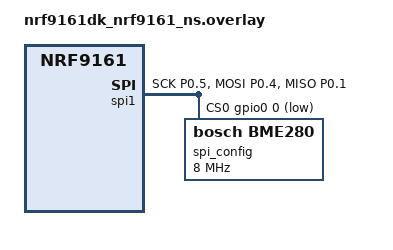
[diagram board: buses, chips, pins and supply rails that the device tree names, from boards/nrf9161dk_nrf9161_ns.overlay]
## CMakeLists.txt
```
#
# Copyright (c) 2024 Nordic Semiconductor
#
# SPDX-License-Identifier: LicenseRef-Nordic-5-Clause
#

cmake_minimum_required(VERSION 3.20.0)
find_package(Zephyr REQUIRED HINTS $ENV{ZEPHYR_BASE})
project(nrf_connect_sdk_intermediate)

target_sources(app PRIVATE 
	src/main.c
	src/drivers/APS6404L.c)
```

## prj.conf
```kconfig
#
# Copyright (c) 2024 Nordic Semiconductor
#
# SPDX-License-Identifier: LicenseRef-Nordic-5-Clause
#

CONFIG_LOG=y

CONFIG_CBPRINTF_FP_SUPPORT=y
CONFIG_RESET_ON_FATAL_ERROR=n

# STEP 1.1 - Enable Kconfigs for SPI and GPIO
CONFIG_GPIO=y
#CONFIG_NRFX_GPIOTE=y

CONFIG_NRFX_SPIM1=y


CONFIG_TFM_SECURE_UART=n

CONFIG_TFM_LOG_LEVEL_SILENCE=y

CONFIG_SPI_NRFX_RAM_BUFFER_SIZE=256
```

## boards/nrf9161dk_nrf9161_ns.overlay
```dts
/* STEP 2.1 - Add the SPI peripheral to spi1 */
&i2c0 {	status = "disabled";};
&spi0 {	status = "disabled";};
&i2c1 {	status = "disabled";};
&uart1 { status = "disabled";};
	
&spi1 {
    compatible = "nordic,nrf-spim";
	status = "okay";
	pinctrl-0 = <&spi1_default>;
	pinctrl-1 = <&spi1_sleep>;
	pinctrl-names = "default", "sleep";
	cs-gpios = <&gpio0 0 GPIO_ACTIVE_LOW>;
	spi_config: spi_config@0 {
		compatible = "bosch,bme280";
		reg = <0>;
		spi-max-frequency = <8000000>; 
	};
};

/* STEP 2.2 - Change the pin configuration */
&pinctrl {
	spi1_default: spi1_default {
		group1 {
				psels = <NRF_PSEL(SPIM_SCK, 0, 5)>,
						<NRF_PSEL(SPIM_MOSI, 0, 4)>,
						<NRF_PSEL(SPIM_MISO, 0, 1)>;
		};
	};

	spi1_sleep: spi1_sleep {
		group1 {
				psels = <NRF_PSEL(SPIM_SCK, 0, 5)>,
						<NRF_PSEL(SPIM_MOSI, 0, 4)>,
						<NRF_PSEL(SPIM_MISO, 0, 1)>;
				low-power-enable;
		};
	};
};
```

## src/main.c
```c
/*
 * Copyright (c) 2024 Nordic Semiconductor ASA
 *
 * SPDX-License-Identifier: LicenseRef-Nordic-5-Clause
 */

#include <zephyr/kernel.h>
#include <zephyr/logging/log.h>

/* STEP 1.2 - Include the header files for SPI, GPIO and devicetree */
#include <zephyr/device.h>
#include <zephyr/devicetree.h>
#include <zephyr/drivers/gpio.h>
//#include <zephyr/drivers/spi.h>
#include <nrfx_spim.h>
#include "../include/drivers/APS6404L.h"

#define AUTO_TRIG_CS  //exchanging 6bytes cs lo to cs hi auto 14,9us   manual 21us 

LOG_MODULE_REGISTER(PGM, LOG_LEVEL_INF);


#define SPIM_INST_IDX 1

/** @brief Symbol specifying pin number for MOSI. */
#define MOSI_PIN 4

/** @brief Symbol specifying pin number for MISO. */
#define MISO_PIN 1

/** @brief Symbol specifying pin number for SCK. */
#define SCK_PIN 5

#define MEM_CS_PIN 0

/** @brief Symbol specifying message to be sent via SPIM data transfer. */
#define MSG_TO_SEND "Nordic Semiconductor"


/** @brief Transmit buffer initialized with the specified message ( @ref MSG_TO_SEND ). */
uint8_t m_tx_buffer[64];

/** @brief Receive buffer defined with the size to store specified message ( @ref MSG_TO_SEND ). */
uint8_t m_rx_buffer[64];


const struct gpio_dt_spec ledspec = GPIO_DT_SPEC_GET(DT_NODELABEL(led0), gpios);



#ifdef AUTO_TRIG_CS


#else
static const struct gpio_dt_spec MEM_CS = {
    .port = DEVICE_DT_GET(DT_NODELABEL(gpio0)),
    .pin  = MEM_CS_PIN,
    .dt_flags = GPIO_ACTIVE_LOW,
};

#endif



nrfx_spim_t spim_inst = NRFX_SPIM_INSTANCE(SPIM_INST_IDX);



int main(void)
{
	int err;
	  nrfx_err_t status;
    (void)status;








   // NRFX_EXAMPLE_LOG_INIT();

    LOG_INF("Starting nrfx_spim basic blocking example.");
 //   NRFX_EXAMPLE_LOG_PROCESS();



#ifdef AUTO_TRIG_CS
nrfx_spim_config_t spim_config = NRFX_SPIM_DEFAULT_CONFIG(SCK_PIN,
                                                              MOSI_PIN,
                                                              MISO_PIN,
                                                              MEM_CS_PIN);

#else

gpio_pin_configure_dt(&MEM_CS, GPIO_OUTPUT_HIGH); 

nrfx_spim_config_t spim_config = NRFX_SPIM_DEFAULT_CONFIG(SCK_PIN,
                                                              MOSI_PIN,
                                                              MISO_PIN,
                                                              NRF_SPIM_PIN_NOT_CONNECTED);
#endif




    

    
    spim_config.frequency=8000000;

    status = nrfx_spim_init(&spim_inst, &spim_config, NULL, NULL);
    NRFX_ASSERT(status == NRFX_SUCCESS);


    m_tx_buffer[0]= 0x9f;
    m_tx_buffer[1]= 0;
    m_tx_buffer[2]= 0;
    m_tx_buffer[3]= 0;
     m_tx_buffer[4]= 0;
      m_tx_buffer[5]= 0;



   // nrfx_spim_xfer_desc_t spim_xfer_desc = NRFX_SPIM_XFER_TRX(m_tx_buffer, 6, m_rx_buffer, 6);
                                                              

    //nrfx_spim_xfer_desc_t spim_xfer_desc = NRFX_SPIM_SINGLE_XFER(m_tx_buffer, 6, m_rx_buffer, 6);

    //status = nrfx_spim_xfer(&spim_inst, &spim_xfer_desc, 0);



    uint8_t wr_buff[32];
    uint8_t rd_buff[32];
    uint8_t cntradd=0;
while (1) {
uint8_t cntr=0;

while (cntr<32) {
    wr_buff[cntr]=cntr+cntradd;
   // wr_buff[cntr]=cntr;
    cntr++;
}
cntradd+=0x30;
FLASH_MEMORY_WRITE_BYTE_ARRAY(0, wr_buff, 32);

k_msleep(2);


 FLASH_MEMORY_READ_DATA(0, rd_buff, 32) ;
 uint8_t dcnt=0;
 LOG_INF("%02hhx %02hhx %02hhx %02hhx", rd_buff[dcnt++], rd_buff[dcnt++], rd_buff[dcnt++], rd_buff[dcnt++]);
 LOG_INF("%02hhx %02hhx %02hhx %02hhx", rd_buff[dcnt++], rd_buff[dcnt++], rd_buff[dcnt++], rd_buff[dcnt++]);
 LOG_INF("%02hhx %02hhx %02hhx %02hhx", rd_buff[dcnt++], rd_buff[dcnt++], rd_buff[dcnt++], rd_buff[dcnt++]);
 LOG_INF("%02hhx %02hhx %02hhx %02hhx", rd_buff[dcnt++], rd_buff[dcnt++], rd_buff[dcnt++], rd_buff[dcnt++]);
 LOG_INF("%02hhx %02hhx %02hhx %02hhx", rd_buff[dcnt++], rd_buff[dcnt++], rd_buff[dcnt++], rd_buff[dcnt++]);
 LOG_INF("%02hhx %02hhx %02hhx %02hhx", rd_buff[dcnt++], rd_buff[dcnt++], rd_buff[dcnt++], rd_buff[dcnt++]);
 LOG_INF("%02hhx %02hhx %02hhx %02hhx", rd_buff[dcnt++], rd_buff[dcnt++], rd_buff[dcnt++], rd_buff[dcnt++]);
 LOG_INF("%02hhx %02hhx %02hhx %02hhx", rd_buff[dcnt++], rd_buff[dcnt++], rd_buff[dcnt++], rd_buff[dcnt++]);
k_msleep(1000);

}





    while (1) {




#ifdef AUTO_TRIG_CS
      // status = nrfx_spim_xfer(&spim_inst, &spim_xfer_desc, 0);

        uint8_t flbuf[2]={0,0};
        FLASH_READ_ID(flbuf);
        LOG_INF("mybuff %02hhx %02hhx", flbuf[0],flbuf[1]);

	 //	LOG_INF("mybuff %02hhx %02hhx %02hhx %02hhx %02hhx %02hhx",m_rx_buffer[0],m_rx_buffer[1],m_rx_buffer[2],m_rx_buffer[3],m_rx_buffer[4],m_rx_buffer[5]);


#else
		gpio_pin_set_dt(&MEM_CS, 1);  /* CS low */
        status = nrfx_spim_xfer(&spim_inst, &spim_xfer_desc, 0);
		gpio_pin_set_dt(&MEM_CS, 0);
#endif









	//	LOG_INF("mybuff %02hhx %02hhx %02hhx %02hhx %02hhx %02hhx",
	//		m_rx_buffer[0],m_rx_buffer[1],m_rx_buffer[2],m_rx_buffer[3],m_rx_buffer[4],m_rx_buffer[5]);

		gpio_pin_toggle_dt(&ledspec);
		k_msleep(1000);

    }

    NRFX_ASSERT(status == NRFX_SUCCESS);

	return 0;
}
```

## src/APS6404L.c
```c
#include "APS6404L.h"

extern unsigned char SPI_RW(const unsigned char value);

void FLASH_READ_ID(unsigned char *buff) {
    unsigned char value = 0;
    SPI_FLASH_CS_SET_LOW // CS low, initialize SPI communication...
    SPI_RW(SPI_FLASH_JEDEC_ID);
    SPI_RW(0);
    SPI_RW(0);
    SPI_RW(0);
    buff[0] = SPI_RW(0);
    buff[1] = SPI_RW(0);
    SPI_FLASH_CS_SET_HIGH // CS high, terminate SPI communication
}

void FLASH_GLOBAL_UNLOCK(void) {
    asm("NOP");
}

void FLASH_MEMORY_ERASE(void) {
    asm("NOP");
}

void FLASH_MEMORY_WRITE_BYTE_ARRAY(unsigned long address, unsigned char *pBuffer, unsigned int length) {
    unsigned int pointer = 0;
    SPI_FLASH_CS_SET_LOW // CS low, initialize SPI communication...
    SPI_RW(SPI_FLASH_WRITE);
    SPI_RW((address >> 16)&0xff);
    SPI_RW((address >> 8)&0xff);
    SPI_RW(address & 0xff);

    // BUFFER write
    while (pointer < length) {
        SPI_RW(pBuffer[pointer]); // Send buffered data
        pointer++;
    }
    SPI_FLASH_CS_SET_HIGH // CS high, terminate SPI communication
}

void FLASH_MEMORY_READ_DATA(unsigned long address, unsigned char *pBuffer, unsigned int length) {
    unsigned int pointer = 0;

    SPI_FLASH_CS_SET_LOW // CS low, initialize SPI communication...
    SPI_RW(SPI_FLASH_READ);
    SPI_RW((address >> 16)&0xff);
    SPI_RW((address >> 8)&0xff);
    SPI_RW(address & 0xff);

    // BUFFER write
    while (pointer < length) {

        pBuffer[pointer] = SPI_RW(0); // read input from send CMD moment, neplatne data       
        pointer++;

    }
    SPI_FLASH_CS_SET_HIGH // CS high, terminate SPI communication
}
```

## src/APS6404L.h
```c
#ifndef _H_APS6404L__
#define _H_APS6404L__

#ifndef EXTERNAL_FLASH_MEMORY_USED
#define EXTERNAL_FLASH_MEMORY_USED
#endif

#include <Arduino.h>

//******************* Instruction Set ************// 
#define SPI_FLASH_JEDEC_ID 	0x9f
#define SPI_FLASH_WRITE    	0x02  
#define SPI_FLASH_READ  	0x03


#define SPI_FLASH_RSTEN  	0x66
#define SPI_FLASH_RST    	0x99
#define SPI_FLASH_RDSR   	0x05
#define SPI_FLASH_WRSR   	0x01
#define SPI_FLASH_RDCR   	0x35

#define SPI_FLASH_READHS 	0x0b

#define SPI_FLASH_WREN   	0x06
#define SPI_FLASH_WRDI   	0x04
#define SPI_FLASH_CE     	0xc7

#define SPI_FLASH_ULBPR  	0x98

#define SPI_FLASH_CS_SET_LOW  digitalWrite(BCM27, 0);
#define SPI_FLASH_CS_SET_HIGH  digitalWrite(BCM27, 1);

//unsigned char SPI_BYTE_RW(unsigned char value);

void FLASH_READ_ID(unsigned char *buff);

void FLASH_GLOBAL_UNLOCK(void);

void FLASH_MEMORY_ERASE(void);


void FLASH_MEMORY_WRITE_BYTE_ARRAY(unsigned long address, unsigned char *pBuffer, unsigned int length);

void FLASH_MEMORY_READ_DATA(unsigned long address, unsigned char *pBuffer, unsigned int length);

#endif
```
